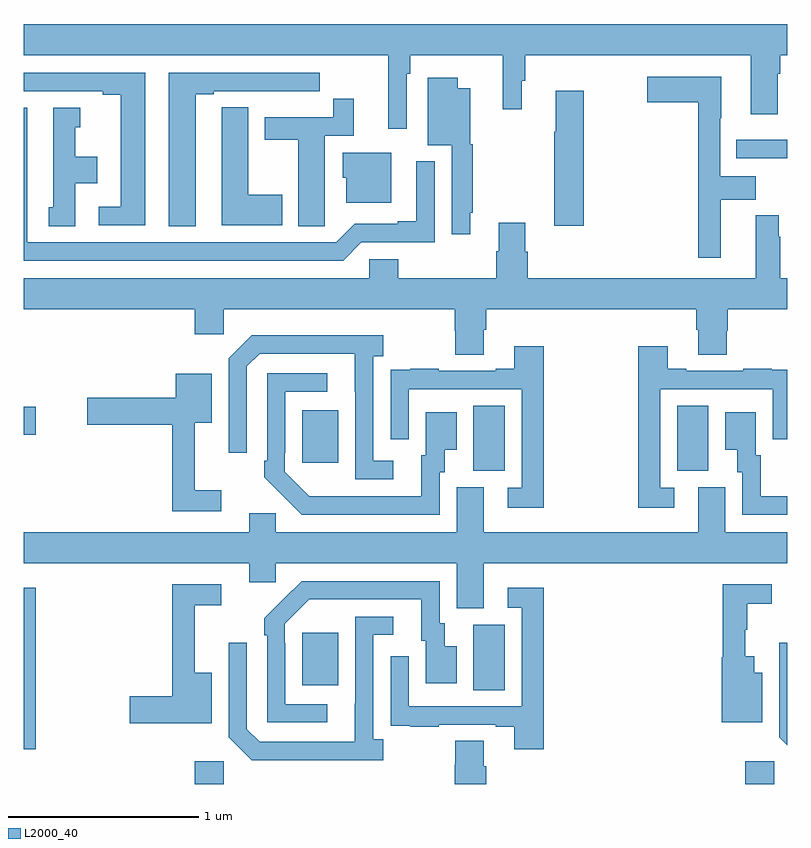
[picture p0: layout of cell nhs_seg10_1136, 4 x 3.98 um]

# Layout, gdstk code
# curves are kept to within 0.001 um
import gdstk
lib = gdstk.Library(unit=1e-6, precision=1e-09)
def R(c, l, rs):  # rectangles x0, y0, x1, y1
    for r in rs: c.add(gdstk.rectangle(r[:2], r[2:], *l))
def P(c, l, *ps):  # polygons
    for p in ps: c.add(gdstk.Polygon(p, *l))
L2000_40 = (2000, 40)

nhs_seg10_1136 = lib.new_cell('nhs_seg10_1136')
R(nhs_seg10_1136, L2000_40, [(169.895,1292.5,170.046,1292.62), (172.781,1292.5,172.932,1292.62), (169,1292.682,169.061,1293.529), (171.356,1292.992,171.52,1293.336), (170.459,1293.017,170.647,1293.292), (171.356,1294.141,171.52,1294.484), (172.424,1294.141,172.588,1294.484), (170.459,1294.185,170.647,1294.459), (169,1294.331,169.063,1294.478), (172.735,1295.781,173,1295.878)])
P(nhs_seg10_1136, L2000_40, [(171.006,1296.224),(171.026,1296.224),(171.026,1296.32),(171.511,1296.32),(171.511,1296.036),(171.61,1296.036),(171.61,1296.186),(171.629,1296.186),(171.629,1296.32),(172.811,1296.32),(172.811,1296.012),(172.951,1296.012),(172.951,1296.224),(172.964,1296.224),(172.964,1296.32),(173,1296.32),(173,1296.484),(169,1296.484),(169,1296.32),(170.909,1296.32),(170.909,1295.934),(171.006,1295.934)],
  [(169.636,1296.228),(169,1296.228),(169,1296.132),(169.412,1296.132),(169.412,1296.112),(169.508,1296.112),(169.508,1295.526),(169.392,1295.526),(169.392,1295.43),(169.636,1295.43)],
  [(169.9,1296.117),(169.996,1296.117),(169.996,1296.132),(170.272,1296.132),(170.272,1296.131),(170.438,1296.131),(170.438,1296.132),(170.551,1296.132),(170.551,1296.228),(169.76,1296.228),(169.76,1295.425),(169.9,1295.425)],
  [(172.652,1295.564),(172.835,1295.564),(172.835,1295.686),(172.65,1295.686),(172.65,1295.99),(172.654,1295.99),(172.654,1296.208),(172.266,1296.208),(172.266,1296.074),(172.534,1296.074),(172.534,1295.259),(172.652,1295.259)],
  [(171.34,1295.494),(171.352,1295.494),(171.352,1295.853),(171.34,1295.853),(171.34,1296.148),(171.274,1296.148),(171.274,1296.202),(171.116,1296.202),(171.116,1295.849),(171.243,1295.849),(171.243,1295.382),(171.34,1295.382)],
  [(171.935,1296.133),(171.788,1296.133),(171.788,1295.92),(171.781,1295.92),(171.781,1295.427),(171.935,1295.427)],
  [(170.577,1295.536),(170.578,1295.536),(170.578,1295.898),(170.729,1295.898),(170.729,1296.091),(170.62,1296.091),(170.62,1295.994),(170.261,1295.994),(170.261,1295.878),(170.438,1295.878),(170.438,1295.425),(170.577,1295.425)],
  [(170.353,1295.589),(170.176,1295.589),(170.176,1296.047),(170.037,1296.047),(170.037,1295.939),(170.036,1295.939),(170.036,1295.429),(170.353,1295.429)],
  [(169.27,1295.648),(169.384,1295.648),(169.384,1295.788),(169.27,1295.788),(169.27,1295.943),(169.294,1295.943),(169.294,1296.046),(169.154,1296.046),(169.154,1295.523),(169.13,1295.523),(169.13,1295.425),(169.27,1295.425)],
  [(170.769,1295.34),(171.153,1295.34),(171.153,1295.764),(171.056,1295.764),(171.056,1295.449),(170.96,1295.449),(170.96,1295.436),(170.733,1295.436),(170.637,1295.34),(169.018,1295.34),(169.018,1296.046),(169,1296.046),(169,1295.244),(170.673,1295.244)],
  [(170.926,1295.809),(170.672,1295.809),(170.672,1295.679),(170.69,1295.679),(170.69,1295.546),(170.926,1295.546)],
  [(171.409,1294.882),(171.422,1294.882),(171.422,1294.988),(172.523,1294.988),(172.523,1294.882),(172.535,1294.882),(172.535,1294.75),(172.683,1294.75),(172.683,1294.875),(172.688,1294.875),(172.688,1294.988),(173,1294.988),(173,1295.152),(172.965,1295.152),(172.965,1295.369),(172.957,1295.369),(172.957,1295.482),(172.835,1295.482),(172.835,1295.152),(171.641,1295.152),(171.641,1295.289),(171.628,1295.289),(171.628,1295.443),(171.488,1295.443),(171.488,1295.294),(171.476,1295.294),(171.476,1295.152),(170.963,1295.152),(170.963,1295.25),(170.811,1295.25),(170.811,1295.152),(169,1295.152),(169,1294.988),(169.895,1294.988),(169.895,1294.857),(170.046,1294.857),(170.046,1294.988),(171.257,1294.988),(171.257,1294.875),(171.262,1294.875),(171.262,1294.75),(171.409,1294.75)],
  [(170.935,1294.194),(170.832,1294.194),(170.832,1294.742),(170.884,1294.742),(170.884,1294.852),(170.194,1294.852),(170.073,1294.731),(170.073,1294.236),(170.169,1294.236),(170.169,1294.689),(170.235,1294.755),(170.735,1294.755),(170.736,1294.098),(170.935,1294.098)],
  [(172.408,1294.053),(172.335,1294.053),(172.335,1294.569),(172.926,1294.569),(172.926,1294.308),(173,1294.308),(173,1294.671),(172.919,1294.671),(172.919,1294.678),(172.771,1294.678),(172.771,1294.665),(172.471,1294.665),(172.471,1294.678),(172.375,1294.678),(172.375,1294.795),(172.219,1294.795),(172.219,1293.948),(172.408,1293.948)],
  [(171.725,1294.795),(171.569,1294.795),(171.569,1294.678),(171.473,1294.678),(171.473,1294.665),(171.173,1294.665),(171.173,1294.678),(171.025,1294.678),(171.025,1294.671),(170.923,1294.671),(170.923,1294.562),(170.922,1294.562),(170.922,1294.308),(171.018,1294.308),(171.018,1294.569),(171.609,1294.569),(171.609,1294.053),(171.537,1294.053),(171.537,1293.948),(171.725,1293.948)],
  [(171.18,1294.134),(171.205,1294.134),(171.205,1294.253),(171.268,1294.253),(171.268,1294.45),(171.107,1294.45),(171.107,1294.224),(171.083,1294.224),(171.083,1294.008),(170.496,1294.009),(170.367,1294.137),(170.367,1294.237),(170.37,1294.237),(170.37,1294.557),(170.59,1294.557),(170.59,1294.653),(170.274,1294.653),(170.274,1294.195),(170.259,1294.195),(170.259,1294.107),(170.456,1293.912),(171.18,1293.912)],
  [(170.035,1294.039),(169.895,1294.039),(169.895,1294.394),(169.984,1294.394),(169.984,1294.651),(169.796,1294.651),(169.796,1294.524),(169.332,1294.524),(169.332,1294.382),(169.777,1294.382),(169.777,1293.93),(170.035,1293.93)],
  [(173,1294.008),(172.861,1294.008),(172.861,1294.224),(172.837,1294.224),(172.837,1294.45),(172.676,1294.45),(172.676,1294.253),(172.739,1294.253),(172.739,1294.134),(172.764,1294.134),(172.764,1293.912),(173,1293.912)],
  [(171.409,1293.656),(173,1293.656),(173,1293.82),(172.675,1293.82),(172.675,1294.056),(172.535,1294.056),(172.535,1293.82),(171.409,1293.82),(171.409,1294.056),(171.269,1294.056),(171.269,1293.82),(170.319,1293.82),(170.319,1293.918),(170.18,1293.918),(170.18,1293.82),(169,1293.82),(169,1293.656),(170.18,1293.656),(170.18,1293.558),(170.319,1293.558),(170.319,1293.656),(171.269,1293.656),(171.269,1293.421),(171.409,1293.421)],
  [(170.59,1292.919),(170.37,1292.919),(170.37,1293.239),(170.367,1293.239),(170.367,1293.339),(170.496,1293.468),(171.083,1293.468),(171.083,1293.252),(171.107,1293.252),(171.107,1293.027),(171.268,1293.027),(171.268,1293.223),(171.205,1293.223),(171.205,1293.342),(171.18,1293.342),(171.18,1293.564),(170.456,1293.564),(170.259,1293.369),(170.259,1293.281),(170.274,1293.281),(170.274,1292.823),(170.59,1292.823)],
  [(172.87,1293.082),(172.828,1293.082),(172.828,1293.169),(172.781,1293.169),(172.781,1293.309),(172.792,1293.309),(172.792,1293.445),(172.921,1293.445),(172.921,1293.546),(172.663,1293.546),(172.663,1293.165),(172.658,1293.165),(172.658,1292.825),(172.87,1292.825)],
  [(169.984,1293.082),(169.895,1293.082),(169.895,1293.438),(170.035,1293.438),(170.035,1293.546),(169.777,1293.546),(169.777,1292.96),(169.554,1292.96),(169.554,1292.818),(169.984,1292.818)],
  [(171.725,1293.529),(171.537,1293.529),(171.537,1293.423),(171.609,1293.423),(171.609,1292.907),(171.018,1292.907),(171.018,1293.169),(170.922,1293.169),(170.922,1292.914),(170.923,1292.914),(170.923,1292.805),(171.025,1292.805),(171.025,1292.799),(171.173,1292.799),(171.173,1292.811),(171.473,1292.811),(171.473,1292.799),(171.569,1292.799),(171.569,1292.682),(171.725,1292.682)],
  [(170.884,1292.734),(170.832,1292.734),(170.832,1293.282),(170.935,1293.282),(170.935,1293.378),(170.736,1293.378),(170.735,1292.721),(170.235,1292.721),(170.169,1292.787),(170.169,1293.241),(170.073,1293.241),(170.073,1292.745),(170.194,1292.624),(170.884,1292.624)],
  [(173,1293.241),(172.959,1293.241),(172.959,1292.745),(173,1292.704)],
  [(171.422,1292.594),(171.409,1292.594),(171.409,1292.726),(171.262,1292.726),(171.262,1292.601),(171.257,1292.601),(171.257,1292.5),(171.422,1292.5)])

lib.write_gds('nhs_seg10_1136.gds')
